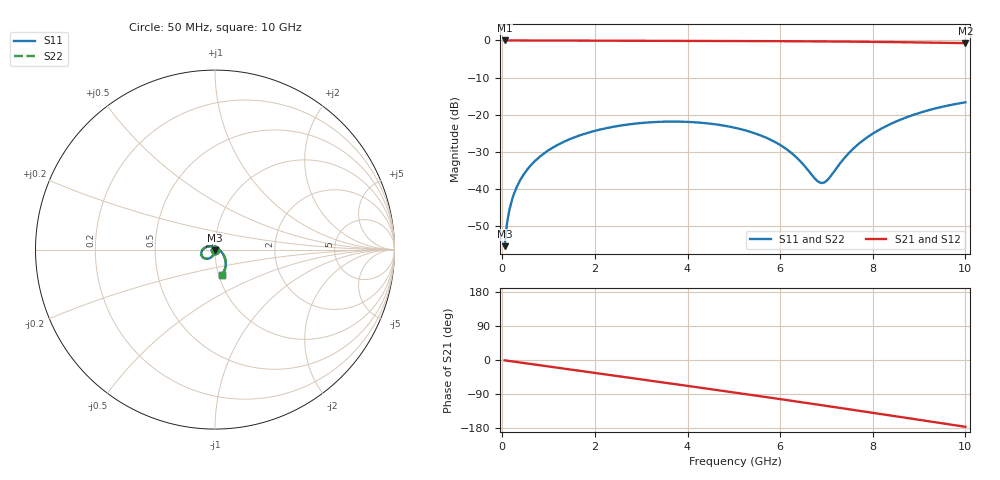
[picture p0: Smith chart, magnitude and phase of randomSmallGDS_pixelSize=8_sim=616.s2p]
! freq	dB(S11)	phase(S11)	dB(S12)	phase(S12)
!  dB(S21)	phase(S21)	dB(S22)	phase(S22)
!S-par simulation data
#  GHz  S  DB  R 50
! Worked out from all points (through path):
!   200 points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, 50 MHz to 10 GHz, reference 50 ohm
!   highest |S21| = 0.00 dB at 50 MHz (marker M1); lowest = -0.7 dB at 10 GHz (marker M2)
!   group delay of S21, straight-line fit = 48.8 ps
!   lowest |S11| = -55.3 dB at 50 MHz (marker M3), VSWR 1.00, Z = 50 - j0.172 ohm
!   |S11| at or under -10 dB: start of sweep to end of sweep
!   |S22| runs from -55.3 to -16.6 dB; largest |S21 - S12| = 0
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0.05  -55.29 -90.1  -0.00 -0.9  -0.00 -0.9  -55.29 -90.1
0.1  -49.27 -91.4  -0.00 -1.7  -0.00 -1.7  -49.27 -91.4
0.2  -43.26 -93.5  -0.00 -3.4  -0.00 -3.4  -43.26 -93.5
0.35  -38.41 -96.3  -0.01 -6.0  -0.01 -6.0  -38.41 -96.3
0.5  -35.34 -99.0  -0.01 -8.6  -0.01 -8.6  -35.34 -99.0
0.7  -32.47 -102.6  -0.02 -12.0  -0.02 -12.0  -32.47 -102.6
1  -29.50 -108.0  -0.02 -17.1  -0.02 -17.1  -29.50 -108.0
1.75  -25.19 -121.2  -0.05 -29.8  -0.05 -29.8  -25.19 -121.1
2.5  -22.98 -134.3  -0.07 -42.6  -0.07 -42.6  -22.98 -134.3
3.4  -21.87 -150.2  -0.10 -57.9  -0.10 -57.9  -21.87 -150.2
4.25  -22.07 -165.8  -0.12 -72.5  -0.12 -72.5  -22.07 -165.8
5.05  -23.54 178.1  -0.15 -86.4  -0.15 -86.4  -23.54 178.2
5.55  -25.39 166.7  -0.17 -95.2  -0.17 -95.2  -25.39 166.7
6  -28.09 153.7  -0.19 -103.2  -0.19 -103.2  -28.09 153.9
6.35  -31.40 138.6  -0.21 -109.4  -0.21 -109.4  -31.42 138.9
6.7  -36.38 106.0  -0.24 -115.7  -0.24 -115.7  -36.44 106.4
6.85  -38.16 77.4  -0.25 -118.4  -0.25 -118.4  -38.25 77.6
6.95  -38.18 54.1  -0.26 -120.2  -0.26 -120.2  -38.28 54.0
7.65  -28.28 -19.8  -0.33 -133.0  -0.33 -133.0  -28.29 -20.0
8.35  -22.64 -41.2  -0.43 -145.8  -0.43 -145.8  -22.65 -41.3
9.1  -19.12 -57.9  -0.55 -159.6  -0.55 -159.6  -19.12 -58.0
10  -16.63 -75.3  -0.72 -176.3  -0.72 -176.3  -16.63 -75.4
